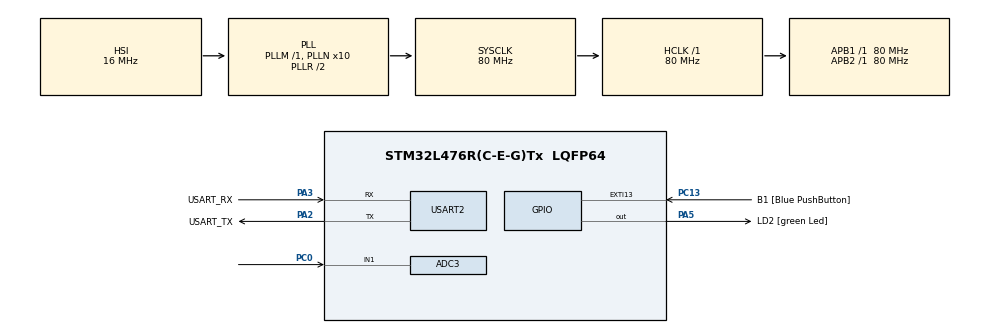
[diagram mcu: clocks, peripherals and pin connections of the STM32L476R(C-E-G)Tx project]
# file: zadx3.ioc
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ADC3.Channel-0\#ChannelRegularConversion=ADC_CHANNEL_1
ADC3.NbrOfConversionFlag=1
ADC3.OffsetNumber-0\#ChannelRegularConversion=ADC_OFFSET_NONE
ADC3.Rank-0\#ChannelRegularConversion=1
ADC3.SamplingTime-0\#ChannelRegularConversion=ADC_SAMPLETIME_2CYCLES_5
Mcu.Family=STM32L4
Mcu.Name=STM32L476R(C-E-G)Tx
Mcu.Package=LQFP64
NVIC.PriorityGroup=NVIC_PRIORITYGROUP_4
PA13\ (JTMS-SWDIO).GPIO_Label=TMS
PA13\ (JTMS-SWDIO).Mode=Trace_Asynchronous_SW
PA13\ (JTMS-SWDIO).Signal=SYS_JTMS-SWDIO
PA14\ (JTCK-SWCLK).GPIO_Label=TCK
PA14\ (JTCK-SWCLK).Mode=Trace_Asynchronous_SW
PA14\ (JTCK-SWCLK).Signal=SYS_JTCK-SWCLK
PA2.GPIO_Label=USART_TX
PA2.GPIO_Mode=GPIO_MODE_AF_PP
PA2.GPIO_PuPd=GPIO_NOPULL
PA2.GPIO_Speed=GPIO_SPEED_FREQ_VERY_HIGH
PA2.Mode=Asynchronous
PA2.Signal=USART2_TX
PA3.GPIO_Label=USART_RX
PA3.GPIO_Mode=GPIO_MODE_AF_PP
PA3.GPIO_PuPd=GPIO_NOPULL
PA3.GPIO_Speed=GPIO_SPEED_FREQ_VERY_HIGH
PA3.Mode=Asynchronous
PA3.Signal=USART2_RX
PA5.GPIO_Label=LD2 [green Led]
PA5.GPIO_ModeDefaultOutputPP=GPIO_MODE_OUTPUT_PP
PA5.GPIO_PuPd=GPIO_NOPULL
PA5.GPIO_Speed=GPIO_SPEED_FREQ_LOW
PA5.Signal=GPIO_Output
PB3\ (JTDO-TRACESWO).GPIO_Label=SWO
PB3\ (JTDO-TRACESWO).Mode=Trace_Asynchronous_SW
PB3\ (JTDO-TRACESWO).Signal=SYS_JTDO-SWO
PC0.Signal=ADCx_IN1
PC13.GPIO_Label=B1 [Blue PushButton]
PC13.GPIO_ModeDefaultEXTI=GPIO_MODE_IT_FALLING
PC13.GPIO_PuPd=GPIO_NOPULL
PC13.Signal=GPXTI13
PC14-OSC32_IN\ (PC14).Mode=LSE-External-Oscillator
PC14-OSC32_IN\ (PC14).Signal=RCC_OSC32_IN
PC15-OSC32_OUT\ (PC15).Mode=LSE-External-Oscillator
PC15-OSC32_OUT\ (PC15).Signal=RCC_OSC32_OUT
PH0-OSC_IN\ (PH0).Signal=RCC_OSC_IN
PH1-OSC_OUT\ (PH1).Signal=RCC_OSC_OUT
ProjectManager.HeapSize=0x200
ProjectManager.StackSize=0x400
ProjectManager.TargetToolchain=STM32CubeIDE
RCC.ADCFreq_Value=64000000
RCC.AHBFreq_Value=80000000
RCC.APB1Freq_Value=80000000
RCC.APB1TimFreq_Value=80000000
RCC.APB2Freq_Value=80000000
RCC.APB2TimFreq_Value=80000000
RCC.CortexFreq_Value=80000000
RCC.HCLKFreq_Value=80000000
RCC.HSE_VALUE=8000000
RCC.HSI_VALUE=16000000
RCC.MSI_VALUE=4000000
RCC.PLLN=10
RCC.PLLSourceVirtual=RCC_PLLSOURCE_HSI
RCC.PREFETCH_ENABLE=1
RCC.SYSCLKFreq_VALUE=80000000
RCC.SYSCLKSource=RCC_SYSCLKSOURCE_PLLCLK
RCC.USBFreq_Value=64000000
RCC.VCOOutputFreq_Value=160000000
SH.ADCx_IN1.0=ADC3_IN1,IN1-Single-Ended
USART2.VirtualMode-Asynchronous=VM_ASYNC
board=NUCLEO-L476RG

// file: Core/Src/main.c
/* USER CODE BEGIN Header */
/**
  ******************************************************************************
  * @file           : main.c
  * @brief          : Main program body
  ******************************************************************************
  * @attention
  *
  * Copyright (c) 2025 STMicroelectronics.
  * All rights reserved.
  *
  * This software is licensed under terms that can be found in the LICENSE file
  * in the root directory of this software component.
  * If no LICENSE file comes with this software, it is provided AS-IS.
  *
  ******************************************************************************
  */
/* USER CODE END Header */
#include "main.h"
#include "adc.h"
#include "usart.h"
#include "gpio.h"

/* USER CODE BEGIN Includes */
#include "stdio.h"
#include "arm_math.h"
/* USER CODE END Includes */

/* USER CODE BEGIN PD */
#define FIR_TAP_NUM 16
/* USER CODE END PD */

void SystemClock_Config(void);

/* USER CODE BEGIN 0 */
float32_t adc_raw_value, filtered_value, voltage;
int16_t adc_raw, filtered_value_int;
float32_t noise;
float32_t firCoeffs[FIR_TAP_NUM] = {
    0.0625, 0.0625, 0.0625, 0.0625,
    0.0625, 0.0625, 0.0625, 0.0625,
    0.0625, 0.0625, 0.0625, 0.0625,
    0.0625, 0.0625, 0.0625, 0.0625
};
float32_t firState[FIR_TAP_NUM + 1];

int __io_putchar(char ch)
{
	uint8_t chx;
	if(ch == '\n')
	{
		chx = '\r';
		HAL_UART_Transmit(&huart2, &chx, 1, HAL_MAX_DELAY);
	}
	chx = ch;
	HAL_UART_Transmit(&huart2, &chx, 1, HAL_MAX_DELAY);
	return 1;
}

float32_t RMSE ( const float32_t * y , const float32_t * yref , const uint32_t len )
{
	float32_t err [ len ];
	arm_sub_f32 ( yref , y , err , len ) ;
	float32_t rmse ;
	arm_rms_f32 ( err , len , & rmse ) ;
	return rmse ;
}

/* USER CODE END 0 */

int main(void)
{

  /* MCU Configuration--------------------------------------------------------*/

  /* Reset of all peripherals, Initializes the Flash interface and the Systick. */
  HAL_Init();

  /* Configure the system clock */
  SystemClock_Config();

  /* Initialize all configured peripherals */
  MX_GPIO_Init();
  MX_ADC3_Init();
  MX_USART2_UART_Init();
  /* USER CODE BEGIN 2 */
  arm_fir_instance_f32 S;
  arm_fir_init_f32(&S, FIR_TAP_NUM, firCoeffs, firState, 1);
  HAL_ADC_Init(&hadc3);

  /* USER CODE END 2 */

  /* Infinite loop */
  /* USER CODE BEGIN WHILE */
  while (1)
  {
	  HAL_ADC_Start(&hadc3);

	      if(HAL_ADC_PollForConversion(&hadc3, 100) == HAL_OK)
	      {
	        adc_raw = HAL_ADC_GetValue(&hadc3);

	        adc_raw_value = (float32_t)adc_raw;

	        arm_fir_f32(&S, &adc_raw_value, &filtered_value, 1);

	        voltage = (filtered_value * 3.3f) / 4095.0f;

	      }

	      HAL_Delay(100);
    /* USER CODE END WHILE */

  }
}

void SystemClock_Config(void)
{
  RCC_OscInitTypeDef RCC_OscInitStruct = {0};
  RCC_ClkInitTypeDef RCC_ClkInitStruct = {0};

  /** Configure the main internal regulator output voltage
  */
  if (HAL_PWREx_ControlVoltageScaling(PWR_REGULATOR_VOLTAGE_SCALE1) != HAL_OK)
  {
    Error_Handler();
  }

  /** Initializes the RCC Oscillators according to the specified parameters
  * in the RCC_OscInitTypeDef structure.
  */
  RCC_OscInitStruct.OscillatorType = RCC_OSCILLATORTYPE_HSI;
  RCC_OscInitStruct.HSIState = RCC_HSI_ON;
  RCC_OscInitStruct.HSICalibrationValue = RCC_HSICALIBRATION_DEFAULT;
  RCC_OscInitStruct.PLL.PLLState = RCC_PLL_ON;
  RCC_OscInitStruct.PLL.PLLSource = RCC_PLLSOURCE_HSI;
  RCC_OscInitStruct.PLL.PLLM = 1;
  RCC_OscInitStruct.PLL.PLLN = 10;
  RCC_OscInitStruct.PLL.PLLP = RCC_PLLP_DIV7;
  RCC_OscInitStruct.PLL.PLLQ = RCC_PLLQ_DIV2;
  RCC_OscInitStruct.PLL.PLLR = RCC_PLLR_DIV2;
  if (HAL_RCC_OscConfig(&RCC_OscInitStruct) != HAL_OK)
  {
    Error_Handler();
  }

  /** Initializes the CPU, AHB and APB buses clocks
  */
  RCC_ClkInitStruct.ClockType = RCC_CLOCKTYPE_HCLK|RCC_CLOCKTYPE_SYSCLK
                              |RCC_CLOCKTYPE_PCLK1|RCC_CLOCKTYPE_PCLK2;
  RCC_ClkInitStruct.SYSCLKSource = RCC_SYSCLKSOURCE_PLLCLK;
  RCC_ClkInitStruct.AHBCLKDivider = RCC_SYSCLK_DIV1;
  RCC_ClkInitStruct.APB1CLKDivider = RCC_HCLK_DIV1;
  RCC_ClkInitStruct.APB2CLKDivider = RCC_HCLK_DIV1;

  if (HAL_RCC_ClockConfig(&RCC_ClkInitStruct, FLASH_LATENCY_4) != HAL_OK)
  {
    Error_Handler();
  }
}

void Error_Handler(void)
{
  __disable_irq();
  while (1)
  {
  }
}
